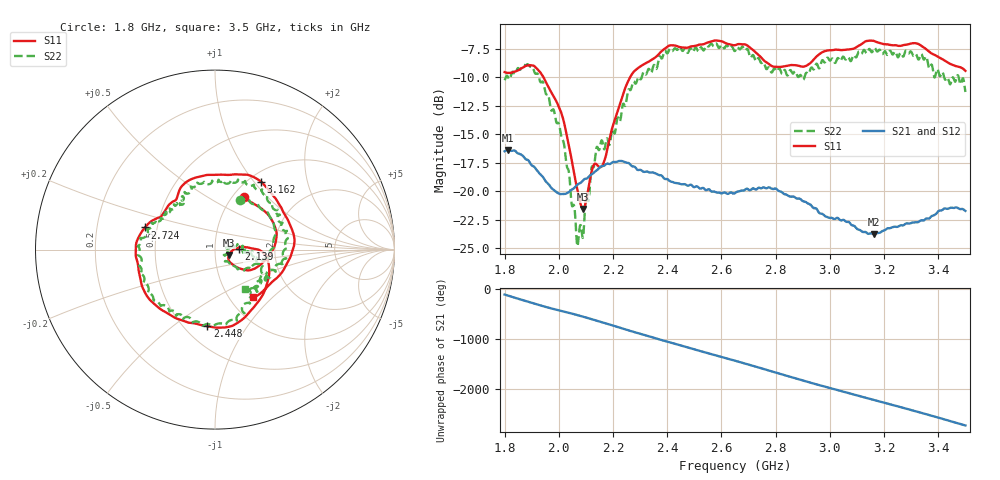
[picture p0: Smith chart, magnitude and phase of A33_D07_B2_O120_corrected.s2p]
! Created with skrf 1.9.0 (http://scikit-rf.org).
# Hz S RI R 50.0
!freq ReS11 ImS11 ReS21 ImS21 ReS12 ImS12 ReS22 ImS22
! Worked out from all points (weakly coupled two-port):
!   1601 points, 1.8 GHz to 3.5 GHz, reference 50 ohm
!   highest |S21| = -16.37 dB at 1.812 GHz (marker M1); lowest = -23.7 dB at 3.162 GHz (marker M2)
!   lowest |S11| = -21.5 dB at 2.09 GHz (marker M3), VSWR 1.18, Z = 58.3 - j3.6 ohm
!   |S11| at or under -10 dB: 1.944 GHz to 2.263 GHz (319.2 MHz wide, 15.2 % of centre)
!   |S22| runs from -24.8 to -7.0 dB; largest |S21 - S12| = 0.0027
!   S11 on the Smith chart (normalised r, x): 1.8 GHz: 1.12, +0.74; 2.139 GHz: 1.30, +0.01; 2.448 GHz: 0.64, -0.67; 2.724 GHz: 0.43, +0.13; 3.162 GHz: 1.14, +1.09; 3.5 GHz: 1.28, -0.76
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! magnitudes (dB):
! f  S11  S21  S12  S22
! 1.8 GHz  -9.5  -16.5  -16.5  -10.3
! 1.812 GHz  -9.6  -16.4  -16.4  -9.9
! 1.883 GHz  -9.0  -17.2  -17.3  -8.9
! 1.941 GHz  -9.9  -18.7  -18.7  -10.4
! 2.013 GHz  -13.4  -20.2  -20.2  -15.4
! 2.067 GHz  -19.7  -19.5  -19.5  -24.6
! 2.084 GHz  -21.3  -19.2  -19.2  -23.3
! 2.09 GHz  -21.5  -19.0  -19.1  -23.9
! 2.139 GHz  -17.6  -18.2  -18.2  -16.2
! 2.167 GHz  -17.4  -17.8  -17.7  -16.3
! 2.264 GHz  -9.9  -17.7  -17.7  -11.1
! 2.367 GHz  -8.0  -18.5  -18.5  -8.5
! 2.448 GHz  -7.4  -19.4  -19.4  -7.4
! 2.65 GHz  -7.2  -20.1  -20.1  -7.7
! 2.724 GHz  -7.8  -19.8  -19.8  -8.5
! 2.796 GHz  -9.1  -19.8  -19.7  -9.2
! 2.9 GHz  -9.1  -20.8  -20.9  -10.2
! 2.934 GHz  -8.6  -21.3  -21.3  -9.1
! 3.162 GHz  -6.8  -23.7  -23.7  -7.5
! 3.217 GHz  -7.1  -23.2  -23.2  -7.8
! 3.343 GHz  -7.3  -22.5  -22.5  -8.2
! 3.5 GHz  -9.4  -21.7  -21.7  -11.3
